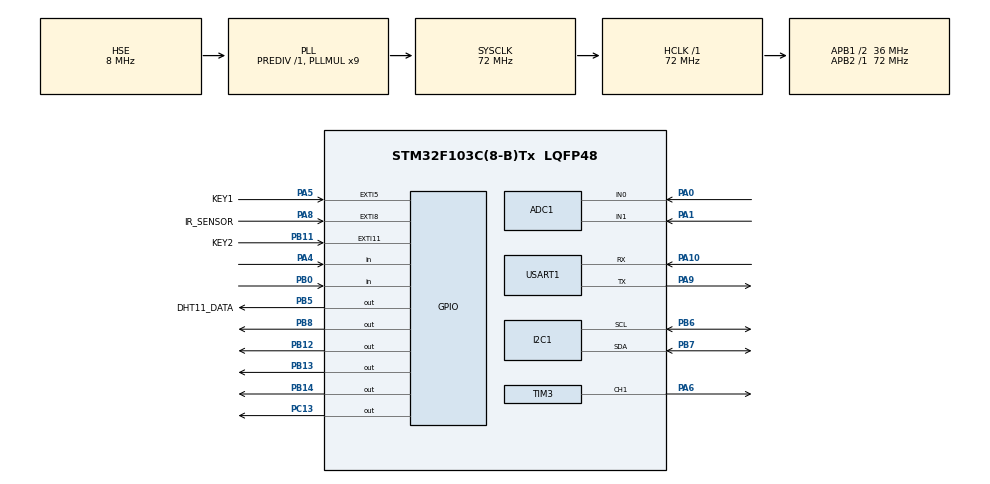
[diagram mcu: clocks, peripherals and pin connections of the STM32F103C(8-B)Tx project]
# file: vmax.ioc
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ADC1.Channel-4\#ChannelRegularConversion=ADC_CHANNEL_0
ADC1.Channel-5\#ChannelRegularConversion=ADC_CHANNEL_0
ADC1.ContinuousConvMode=ENABLE
ADC1.NbrOfConversion=2
ADC1.NbrOfConversionFlag=1
ADC1.Rank-4\#ChannelRegularConversion=1
ADC1.Rank-5\#ChannelRegularConversion=2
ADC1.SamplingTime-4\#ChannelRegularConversion=ADC_SAMPLETIME_55CYCLES_5
ADC1.SamplingTime-5\#ChannelRegularConversion=ADC_SAMPLETIME_55CYCLES_5
ADC1.master=1
Dma.ADC1.0.Direction=DMA_PERIPH_TO_MEMORY
Dma.ADC1.0.Instance=DMA1_Channel1
Dma.ADC1.0.MemDataAlignment=DMA_MDATAALIGN_HALFWORD
Dma.ADC1.0.MemInc=DMA_MINC_ENABLE
Dma.ADC1.0.Mode=DMA_CIRCULAR
Dma.ADC1.0.PeriphDataAlignment=DMA_PDATAALIGN_HALFWORD
Dma.ADC1.0.PeriphInc=DMA_PINC_DISABLE
Dma.ADC1.0.Priority=DMA_PRIORITY_HIGH
Dma.Request0=ADC1
FREERTOS.Tasks01=defaultTask,24,128,StartDefaultTask,Default,NULL,Dynamic,NULL,NULL
FREERTOS.configTOTAL_HEAP_SIZE=8192
I2C1.I2C_Mode=I2C_Fast
Mcu.Family=STM32F1
Mcu.Name=STM32F103C(8-B)Tx
Mcu.Package=LQFP48
NVIC.ADC1_2_IRQn=true\:5\:0\:false\:false\:true\:true\:true\:true\:true
NVIC.DMA1_Channel1_IRQn=true\:5\:0\:false\:false\:true\:true\:false\:true\:true
NVIC.EXTI15_10_IRQn=true\:8\:0\:true\:false\:true\:false\:true\:true\:true
NVIC.EXTI9_5_IRQn=true\:8\:0\:true\:false\:true\:false\:true\:true\:true
NVIC.PriorityGroup=NVIC_PRIORITYGROUP_4
NVIC.TIM4_IRQn=true\:15\:0\:false\:false\:true\:false\:false\:true\:true
NVIC.TimeBase=TIM4_IRQn
NVIC.TimeBaseIP=TIM4
NVIC.USART1_IRQn=true\:5\:0\:false\:false\:true\:true\:true\:true\:true
PA0-WKUP.Signal=ADCx_IN0
PA1.Signal=ADCx_IN1
PA10.Mode=Asynchronous
PA10.Signal=USART1_RX
PA13.Mode=Serial_Wire
PA13.Signal=SYS_JTMS-SWDIO
PA14.Mode=Serial_Wire
PA14.Signal=SYS_JTCK-SWCLK
PA4.GPIO_PuPd=GPIO_PULLUP
PA4.Signal=GPIO_Input
PA5.GPIO_Label=KEY1
PA5.GPIO_ModeDefaultEXTI=GPIO_MODE_IT_FALLING
PA5.GPIO_PuPd=GPIO_PULLUP
PA5.Signal=GPXTI5
PA6.Signal=S_TIM3_CH1
PA8.GPIO_Label=IR_SENSOR
PA8.GPIO_ModeDefaultEXTI=GPIO_MODE_IT_FALLING
PA8.GPIO_PuPd=GPIO_PULLUP
PA8.Signal=GPXTI8
PA9.Mode=Asynchronous
PA9.Signal=USART1_TX
PB0.GPIO_PuPd=GPIO_PULLUP
PB0.Signal=GPIO_Input
PB11.GPIO_Label=KEY2
PB11.GPIO_ModeDefaultEXTI=GPIO_MODE_IT_FALLING
PB11.GPIO_PuPd=GPIO_PULLUP
PB11.Signal=GPXTI11
PB12.GPIO_ModeDefaultOutputPP=GPIO_MODE_OUTPUT_PP
PB12.Signal=GPIO_Output
PB13.GPIO_ModeDefaultOutputPP=GPIO_MODE_OUTPUT_PP
PB13.PinState=GPIO_PIN_RESET
PB13.Signal=GPIO_Output
PB14.GPIO_ModeDefaultOutputPP=GPIO_MODE_OUTPUT_PP
PB14.PinState=GPIO_PIN_SET
PB14.Signal=GPIO_Output
PB5.GPIO_Label=DHT11_DATA
PB5.GPIO_Speed=GPIO_SPEED_FREQ_HIGH
PB5.Signal=GPIO_Output
PB6.Mode=I2C
PB6.Signal=I2C1_SCL
PB7.Mode=I2C
PB7.Signal=I2C1_SDA
PB8.GPIO_Speed=GPIO_SPEED_FREQ_LOW
PB8.PinState=GPIO_PIN_SET
PB8.Signal=GPIO_Output
PC13-TAMPER-RTC.PinState=GPIO_PIN_SET
PC13-TAMPER-RTC.Signal=GPIO_Output
PC14-OSC32_IN.Mode=LSE-External-Oscillator
PC14-OSC32_IN.Signal=RCC_OSC32_IN
PC15-OSC32_OUT.Mode=LSE-External-Oscillator
PC15-OSC32_OUT.Signal=RCC_OSC32_OUT
PD0-OSC_IN.Mode=HSE-External-Oscillator
PD0-OSC_IN.Signal=RCC_OSC_IN
PD1-OSC_OUT.Mode=HSE-External-Oscillator
PD1-OSC_OUT.Signal=RCC_OSC_OUT
ProjectManager.HeapSize=0x200
ProjectManager.StackSize=0x400
ProjectManager.TargetToolchain=MDK-ARM V5.32
RCC.ADCPresc=RCC_ADCPCLK2_DIV6
RCC.AHBFreq_Value=72000000
RCC.APB1CLKDivider=RCC_HCLK_DIV2
RCC.APB1Freq_Value=36000000
RCC.APB1TimFreq_Value=72000000
RCC.APB2Freq_Value=72000000
RCC.APB2TimFreq_Value=72000000
RCC.HCLKFreq_Value=72000000
RCC.PLLMUL=RCC_PLL_MUL9
RCC.PLLSourceVirtual=RCC_PLLSOURCE_HSE
RCC.SYSCLKFreq_VALUE=72000000
RCC.SYSCLKSource=RCC_SYSCLKSOURCE_PLLCLK
RCC.USBFreq_Value=72000000
SH.ADCx_IN0.0=ADC1_IN0,IN0
SH.ADCx_IN1.0=ADC1_IN1,IN1
SH.S_TIM3_CH1.0=TIM3_CH1,PWM Generation1 CH1
TIM3.Channel-PWM\ Generation1\ CH1=TIM_CHANNEL_1
TIM3.Period=999
TIM3.Prescaler=71
USART1.VirtualMode=VM_ASYNC
VP_FREERTOS_VS_CMSIS_V2.Mode=CMSIS_V2
VP_SYS_VS_tim4.Mode=TIM4
VP_TIM3_VS_ClockSourceINT.Mode=Internal
board=custom

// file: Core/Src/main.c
/* USER CODE BEGIN Header */
/**
  ******************************************************************************
  * @file           : main.c
  * @brief          : Main program body
  ******************************************************************************
  * @attention
  *
  * Copyright (c) 2026 STMicroelectronics.
  * All rights reserved.
  *
  * This software is licensed under terms that can be found in the LICENSE file
  * in the root directory of this software component.
  * If no LICENSE file comes with this software, it is provided AS-IS.
  *
  ******************************************************************************
  */
/* USER CODE END Header */
#include "main.h"
#include "cmsis_os.h"
#include "adc.h"
#include "dma.h"
#include "i2c.h"
#include "tim.h"
#include "usart.h"
#include "gpio.h"

/* USER CODE BEGIN Includes */
#include "dht11.h"
#include "ssd1306.h"
#include "tb6612.h"
#include "cmsis_os.h"
#include <stdio.h>
#include <string.h>
#include "FreeRTOS.h"
#include "task.h"
#include "queue.h"

/* USER CODE END Includes */

/* USER CODE BEGIN PV */
uint8_t uart_rx_byte = 0;
volatile uint8_t uart_rx_flag = 0;   // 收到一字节标志
char cmdBuf[16];
uint8_t cmdIdx = 0;
volatile uint8_t cmd_ready = 0;      // 收到完整命令标志
uint16_t adcValues[2];   // ADC 双通道数据
QueueHandle_t displayQueue;
QueueHandle_t controlQueue;
volatile uint8_t auto_mode = 1;
// 传感器数据结构
typedef struct {
    float temp;
    float humi;
	 uint16_t light;
    uint16_t thermistor;
} SensorData_t;

// 全局状态
volatile uint8_t uart_rx_char = 0;   // 接收到的字符
volatile uint8_t uart_rx_ready = 0;  // 收到标志
volatile uint8_t fan_enable = 1;      // 风扇使能，默认开启
volatile uint16_t fan_speed = 0;      // 当前风扇速度 0~999
volatile int16_t encoder_counter = 0;  // 编码器计数值
volatile uint32_t last_enc_time = 0;   // 编码器消抖时间
uint16_t adcValues[2];   // ADC 双通道数据缓冲区
/* USER CODE END PV */

void SystemClock_Config(void);
void MX_FREERTOS_Init(void);
/* USER CODE BEGIN PFP */
static void SensorTask(void *arg);
static void DisplayTask(void *arg);
static void ControlTask(void *arg);
/* USER CODE END PFP */

int main(void)
{

  /* MCU Configuration--------------------------------------------------------*/

  /* Reset of all peripherals, Initializes the Flash interface and the Systick. */
  HAL_Init();

  /* Configure the system clock */
  SystemClock_Config();

  /* Initialize all configured peripherals */
  MX_GPIO_Init();
  MX_DMA_Init();
  MX_USART1_UART_Init();
  MX_I2C1_Init();
  MX_TIM3_Init();
  MX_ADC1_Init();
  /* USER CODE BEGIN 2 */
   // 初始化 OLED
  SSD1306_Init();
  SSD1306_Clear();
  SSD1306_ShowString(0, 0, "Starting", 1);

  // 初始化 TB6612 和 PWM
  TB6612_Init();
  HAL_TIM_PWM_Start(&htim3, TIM_CHANNEL_1);
  HAL_ADC_Start_DMA(&hadc1, (uint32_t*)adcValues, 2);
  HAL_UART_Receive_IT(&huart1, (uint8_t*)&uart_rx_char, 1);
  // 创建队列
  displayQueue = xQueueCreate(5, sizeof(SensorData_t));
  controlQueue = xQueueCreate(5, sizeof(SensorData_t));

  // 创建任务
  xTaskCreate(SensorTask, "sensor", 512, NULL, 2, NULL);
  xTaskCreate(DisplayTask, "display", 512, NULL, 1, NULL);
  xTaskCreate(ControlTask, "control", 256, NULL, 3, NULL);

  // 启动调度器
  osKernelStart();

  /* USER CODE END 2 */

  /* Init scheduler */
  osKernelInitialize();  /* Call init function for freertos objects (in cmsis_os2.c) */
  MX_FREERTOS_Init();

  /* Start scheduler */
  osKernelStart();

  /* We should never get here as control is now taken by the scheduler */

  /* Infinite loop */
  while (1)
  {

  }
}

void SystemClock_Config(void)
{
  RCC_OscInitTypeDef RCC_OscInitStruct = {0};
  RCC_ClkInitTypeDef RCC_ClkInitStruct = {0};
  RCC_PeriphCLKInitTypeDef PeriphClkInit = {0};

  /** Initializes the RCC Oscillators according to the specified parameters
  * in the RCC_OscInitTypeDef structure.
  */
  RCC_OscInitStruct.OscillatorType = RCC_OSCILLATORTYPE_HSE;
  RCC_OscInitStruct.HSEState = RCC_HSE_ON;
  RCC_OscInitStruct.HSEPredivValue = RCC_HSE_PREDIV_DIV1;
  RCC_OscInitStruct.HSIState = RCC_HSI_ON;
  RCC_OscInitStruct.PLL.PLLState = RCC_PLL_ON;
  RCC_OscInitStruct.PLL.PLLSource = RCC_PLLSOURCE_HSE;
  RCC_OscInitStruct.PLL.PLLMUL = RCC_PLL_MUL9;
  if (HAL_RCC_OscConfig(&RCC_OscInitStruct) != HAL_OK)
  {
    Error_Handler();
  }

  /** Initializes the CPU, AHB and APB buses clocks
  */
  RCC_ClkInitStruct.ClockType = RCC_CLOCKTYPE_HCLK|RCC_CLOCKTYPE_SYSCLK
                              |RCC_CLOCKTYPE_PCLK1|RCC_CLOCKTYPE_PCLK2;
  RCC_ClkInitStruct.SYSCLKSource = RCC_SYSCLKSOURCE_PLLCLK;
  RCC_ClkInitStruct.AHBCLKDivider = RCC_SYSCLK_DIV1;
  RCC_ClkInitStruct.APB1CLKDivider = RCC_HCLK_DIV2;
  RCC_ClkInitStruct.APB2CLKDivider = RCC_HCLK_DIV1;

  if (HAL_RCC_ClockConfig(&RCC_ClkInitStruct, FLASH_LATENCY_2) != HAL_OK)
  {
    Error_Handler();
  }
  PeriphClkInit.PeriphClockSelection = RCC_PERIPHCLK_ADC;
  PeriphClkInit.AdcClockSelection = RCC_ADCPCLK2_DIV6;
  if (HAL_RCCEx_PeriphCLKConfig(&PeriphClkInit) != HAL_OK)
  {
    Error_Handler();
  }
}

/* USER CODE BEGIN 4 */
void HAL_UART_RxCpltCallback(UART_HandleTypeDef *huart)
{
	if (huart->Instance == USART1) {
        uart_rx_ready = 1;                              // 置标志
        HAL_UART_Receive_IT(&huart1, (uint8_t*)&uart_rx_char, 1); // 重新开启接收
    }
    if (huart->Instance == USART1) {
        uint8_t c = uart_rx_byte;

        if (c == '\n') {
            cmdBuf[cmdIdx] = '\0';
            cmdIdx = 0;
            cmd_ready = 1;
        } else {
            if (cmdIdx < 15) {
                cmdBuf[cmdIdx++] = c;
            } else {
                cmdIdx = 0;  // 超长则丢弃
            }
        }

        HAL_UART_Receive_IT(&huart1, &uart_rx_byte, 1);
    }
}
void HAL_GPIO_EXTI_Callback(uint16_t GPIO_Pin)
{
    if (GPIO_Pin == GPIO_PIN_0) {  // 编码器 A 相
        uint32_t now = HAL_GetTick();
        if (now - last_enc_time < 20) {  // 20ms 内忽略，强消抖
            return;
        }
        last_enc_time = now;

        // 延迟 1ms 等信号稳定
        HAL_Delay(1);  // 注意：在中断中 HAL_Delay 可能不精确，但可用简单循环代替

        // 读取 B 相电平判断方向
        if (HAL_GPIO_ReadPin(GPIOA, GPIO_PIN_4) == GPIO_PIN_SET) {
            encoder_counter++;
        } else {
            encoder_counter--;
        }
    }
}

// 传感器任务：读取 DHT11，发送到两个队列
static void SensorTask(void *arg)
{
    SensorData_t data;
    for (;;) {
        vTaskSuspendAll();
        uint8_t ok = DHT11_Read(&data.temp, &data.humi);
        xTaskResumeAll();

        if (ok != 0) {
            data.temp = 0.0f;
            data.humi = 0.0f;
        }

        // 直接读取 ADC 数据（DMA 循环模式自动更新）
        data.light = adcValues[0];      // PA0 光敏
        data.thermistor = adcValues[1]; // PA1 热敏

        xQueueSend(displayQueue, &data, 0);
        xQueueSend(controlQueue, &data, 0);
		//串口发数据
		char uartBuf[64];
		snprintf(uartBuf, sizeof(uartBuf), "T:%.1f,H:%.1f,L:%d,TH:%d\n",
				 data.temp, data.humi, data.light, data.thermistor);
		HAL_UART_Transmit(&huart1, (uint8_t*)uartBuf, strlen(uartBuf), 100);
        vTaskDelay(pdMS_TO_TICKS(1000));
    }
}

// 显示任务：显示温湿度和风扇状态
static void DisplayTask(void *arg)
{
    SensorData_t data;
    char buf[32];
    for (;;) {
		 SSD1306_CheckAndRecover();
        if (xQueueReceive(displayQueue, &data, pdMS_TO_TICKS(200)) == pdTRUE) {
            SSD1306_Clear();
            snprintf(buf, sizeof(buf), "T:%.1f C", data.temp);
            SSD1306_ShowString(0, 0, buf, 1);
            snprintf(buf, sizeof(buf), "H:%.1f %%", data.humi);
            SSD1306_ShowString(0, 1, buf, 1);
			snprintf(buf, sizeof(buf), "L:%d", data.light);
            SSD1306_ShowString(0, 4, buf, 1);
            snprintf(buf, sizeof(buf), "Th:%d", data.thermistor);
            SSD1306_ShowString(0, 5, buf, 1);

            if (fan_speed > 0) {
                snprintf(buf, sizeof(buf), "Fan:%d%%", (fan_speed * 100) / 999);
            } else {
                snprintf(buf, sizeof(buf), "Fan:OFF");
            }
            SSD1306_ShowString(0, 2, buf, 1);

            if (auto_mode) {
                snprintf(buf, sizeof(buf), "Mode:Auto");
            } else {
                snprintf(buf, sizeof(buf), "Mode:Manual");
            }
            SSD1306_ShowString(0, 3, buf, 1);
        }
        vTaskDelay(pdMS_TO_TICKS(200));
    }
}

// 控制任务：根据温度自动调节风扇
static void ControlTask(void *arg)
{
    SensorData_t data;
    static int16_t last_encoder = 0;
    uint16_t pwm = 0;
    static uint8_t key1_prev = 1;
    uint8_t key1_now;
    static uint8_t lastA = 1;
    uint8_t nowA;

    for (;;)
    {
        // ========== 1. 处理 ESP32 远程命令 ==========
        if (uart_rx_ready) {
            uart_rx_ready = 0;
            if (uart_rx_char == '1') {
                auto_mode = !auto_mode;              // 切换模式
                last_encoder = encoder_counter;
            } else if (uart_rx_char == '2') {
                fan_enable = !fan_enable;            // 切换风扇开关
                // 立即生效：关闭时直接停，打开时不用做，下一轮会自动控制
                if (!fan_enable) {
                    TB6612_Stop();
                    fan_speed = 0;
                }
            }
        }

        // ========== 2. 编码器轮询 ==========
        nowA = HAL_GPIO_ReadPin(GPIOB, GPIO_PIN_0);
        if (lastA == 1 && nowA == 0) {
            if (HAL_GPIO_ReadPin(GPIOA, GPIO_PIN_4) == GPIO_PIN_SET) {
                encoder_counter--;
            } else {
                encoder_counter++;
            }
        }
        lastA = nowA;

        // ========== 3. 按键检测 ==========
        key1_now = HAL_GPIO_ReadPin(GPIOA, GPIO_PIN_5);
        if (key1_now == GPIO_PIN_RESET) {
            HAL_GPIO_WritePin(GPIOC, GPIO_PIN_13, GPIO_PIN_RESET);
        } else {
            HAL_GPIO_WritePin(GPIOC, GPIO_PIN_13, GPIO_PIN_SET);
        }

        if (key1_prev == 1 && key1_now == 0) {
            vTaskDelay(pdMS_TO_TICKS(20));
            if (HAL_GPIO_ReadPin(GPIOA, GPIO_PIN_5) == 0) {
                auto_mode = !auto_mode;
                last_encoder = encoder_counter;
            }
            while (HAL_GPIO_ReadPin(GPIOA, GPIO_PIN_5) == 0) {
                vTaskDelay(pdMS_TO_TICKS(10));
            }
        }
        key1_prev = key1_now;

        // ========== 4. 接收传感器数据 ==========
        BaseType_t gotData = xQueueReceive(controlQueue, &data, 0);

        // ========== 5. 蜂鸣器报警 ==========
        if (gotData == pdTRUE) {
            if (data.temp > 30.0f) {
                HAL_GPIO_WritePin(GPIOB, GPIO_PIN_8, GPIO_PIN_RESET);
            } else {
                HAL_GPIO_WritePin(GPIOB, GPIO_PIN_8, GPIO_PIN_SET);
            }
        }

        // ========== 6. 自动模式：根据温度调速（关键修改：加 fan_enable 判断） ==========
        if (auto_mode && gotData == pdTRUE) {
            if (fan_enable) {                          // ← 只有使能时才控制风扇
                if (data.temp > 30.0f) {
                    pwm = 999;
                } else if (data.temp > 25.0f) {
                    pwm = (uint16_t)((data.temp - 25.0f) * (999 / 5.0f));
                } else {
                    pwm = 0;
                }

                if (pwm > 0) {
                    TB6612_SetDirection(1);
                    TB6612_SetSpeed(pwm);
                } else {
                    TB6612_Stop();
                }
                fan_speed = pwm;
            } else {
                // 风扇被禁用，保持停止
                TB6612_Stop();
                fan_speed = 0;
            }
        }

        // ========== 7. 手动模式：编码器调速（关键修改：加 fan_enable 判断） ==========
        if (!auto_mode) {
            if (fan_enable) {                          // ← 只有使能时才允许编码器调速
                if (encoder_counter != last_encoder) {
                    int16_t delta = (int16_t)(encoder_counter - last_encoder);
                    last_encoder = encoder_counter;

                    int32_t temp_pwm = (int32_t)pwm + (int32_t)delta * 50;
                    if (temp_pwm > 999) temp_pwm = 999;
                    else if (temp_pwm < 0) temp_pwm = 0;
                    pwm = (uint16_t)temp_pwm;

                    if (pwm > 0) {
                        TB6612_SetDirection(1);
                        TB6612_SetSpeed(pwm);
                    } else {
                        TB6612_Stop();
                    }
                    fan_speed = pwm;
                }
            } else {
                // 风扇被禁用，保持停止
                TB6612_Stop();
                fan_speed = 0;
            }
        }

        // ========== 8. 清空队列残留 ==========
        while (xQueueReceive(controlQueue, &data, 0) == pdTRUE) {}

        vTaskDelay(pdMS_TO_TICKS(20));
    }
}

/* USER CODE END 4 */

void HAL_TIM_PeriodElapsedCallback(TIM_HandleTypeDef *htim)
{
  if (htim->Instance == TIM4)
  {
    HAL_IncTick();
  }
}

void Error_Handler(void)
{
  __disable_irq();
  while (1)
  {
  }
}
